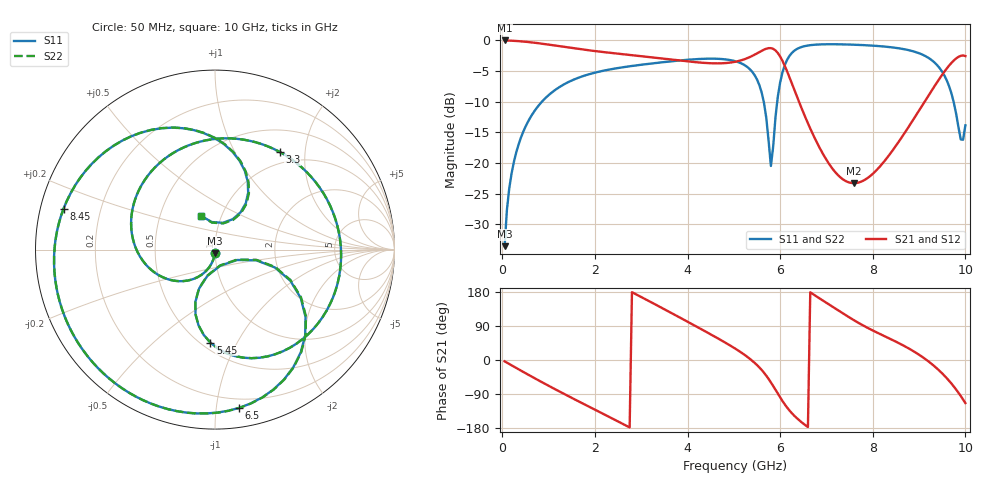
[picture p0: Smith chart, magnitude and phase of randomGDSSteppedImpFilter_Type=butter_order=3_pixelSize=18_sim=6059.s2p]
! freq	dB(S11)	phase(S11)	dB(S12)	phase(S12)
!  dB(S21)	phase(S21)	dB(S22)	phase(S22)
!S-par simulation data
#  GHz  S  DB  R 50
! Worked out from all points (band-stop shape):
!   200 points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, 50 MHz to 10 GHz, reference 50 ohm
!   highest |S21| = -0.01 dB at 50 MHz (marker M1); lowest = -23.3 dB at 7.6 GHz (marker M2)
!   |S21| within 3 dB of the highest: start of sweep to 3.519 GHz; 5.253 GHz to 6.027 GHz (773.7 MHz wide, 13.7 % of centre) (the widest 2 of 3)
!   lowest |S11| = -33.6 dB at 50 MHz (marker M3), VSWR 1.04, Z = 49.9 - j2.09 ohm
!   |S11| at or under -10 dB: start of sweep to 856.8 MHz; 5.645 GHz to 5.937 GHz (292.2 MHz wide, 5.05 % of centre); 9.745 GHz to end of sweep
!   |S22| runs from -33.6 to -0.6 dB; largest |S21 - S12| = 0
!   S11 on the Smith chart (normalised r, x): 50 MHz: 1.00, -0.04; 3.3 GHz: 0.81, +1.54; 5.45 GHz: 0.55, -0.79; 6.5 GHz: 0.13, -1.16; 8.45 GHz: 0.07, +0.13; 10 GHz: 0.80, +0.31
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0.05  -33.58 -92.1  -0.01 -3.5  -0.01 -3.5  -33.58 -92.1
0.2  -21.72 -104.2  -0.05 -14.0  -0.05 -14.0  -21.72 -104.2
0.5  -14.10 -125.2  -0.22 -34.7  -0.22 -34.7  -14.10 -125.2
1.1  -8.32 -165.1  -0.80 -74.5  -0.80 -74.5  -8.32 -165.2
1.75  -5.81 153.9  -1.50 -115.6  -1.50 -115.6  -5.81 153.8
2.55  -4.45 104.2  -2.21 -165.3  -2.21 -165.3  -4.45 104.1
3.3  -3.71 56.5  -2.83 146.9  -2.83 146.9  -3.70 56.5
3.4  -3.62 50.1  -2.91 140.4  -2.91 140.4  -3.62 50.0
4.25  -3.04 -5.5  -3.61 84.5  -3.61 84.5  -3.04 -5.4
5.05  -3.44 -60.0  -3.46 28.5  -3.46 28.5  -3.44 -60.0
5.45  -5.69 -92.8  -2.33 -7.6  -2.33 -7.6  -5.70 -92.8
5.8  -20.49 -71.8  -1.26 -59.0  -1.26 -59.0  -20.68 -71.8
6.1  -4.04 -36.6  -4.16 -117.2  -4.16 -117.2  -4.04 -36.3
6.5  -0.99 -81.3  -11.76 -167.9  -11.76 -167.9  -0.99 -81.1
6.7  -0.74 -96.5  -15.21 174.6  -15.21 174.6  -0.74 -96.3
7.6  -0.71 -148.1  -23.30 104.5  -23.30 104.5  -0.71 -148.0
8.35  -1.08 170.8  -18.76 57.3  -18.76 57.3  -1.08 170.8
8.45  -1.17 164.8  -17.73 51.4  -17.73 51.4  -1.17 164.7
9.1  -2.42 118.3  -10.24 5.5  -10.24 5.5  -2.43 118.0
9.55  -5.78 74.6  -5.07 -41.7  -5.07 -41.7  -5.80 73.9
9.9  -16.16 73.7  -2.52 -94.9  -2.52 -94.9  -16.34 72.9
10  -13.86 112.3  -2.56 -113.7  -2.56 -113.7  -13.97 112.3
